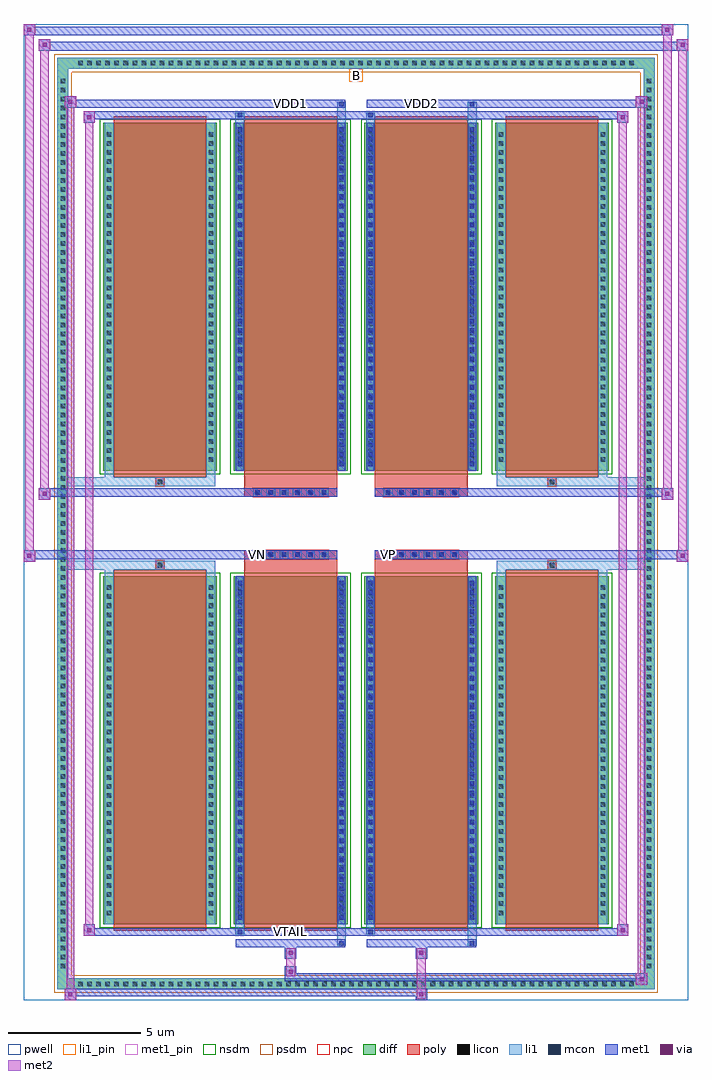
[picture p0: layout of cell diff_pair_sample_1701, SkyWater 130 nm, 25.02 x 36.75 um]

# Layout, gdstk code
import gdstk
lib = gdstk.Library(unit=1e-6, precision=5e-09)
def R(c, l, rs):  # rectangles x0, y0, x1, y1
    for r in rs: c.add(gdstk.rectangle(r[:2], r[2:], *l))
def A(c, l, x, y, w, h, nx, ny, dx, dy):  # array of equal rectangles
    R(c, l, [(x+i*dx, y+j*dy, x+i*dx+w, y+j*dy+h) for i in range(nx) for j in range(ny)])
def P(c, l, *ps):  # polygons
    for p in ps: c.add(gdstk.Polygon(p, *l))
pwell = (64, 44)
diff = (65, 20)
poly = (66, 20)
licon = (66, 44)
li1_pin = (67, 16)
li1 = (67, 20)
mcon = (67, 44)
met1_pin = (68, 16)
met1 = (68, 20)
via = (68, 44)
met2 = (69, 20)
nsdm = (93, 44)
psdm = (94, 20)
npc = (95, 20)

diff_pair_sample_1701 = lib.new_cell('diff_pair_sample_1701')
R(diff_pair_sample_1701, pwell, [(-12.51,-17.94,12.51,18.81), (-9.83,-16.13,-0.01,-0.805), (0.01,-16.13,9.83,-0.805), (-9.83,0.805,-0.01,16.13), (0.01,0.805,9.83,16.13)])
A(diff_pair_sample_1701, diff, -10.575, -17.54, 0.41, 0.41, 62, 2, 0.34, 34.67)
A(diff_pair_sample_1701, diff, -11.24, -16.865, 0.41, 0.41, 1, 99, 0, 0.34)
A(diff_pair_sample_1701, diff, 10.83, -16.865, 0.41, 0.41, 1, 99, 0, 0.34)
A(diff_pair_sample_1701, diff, -9.52, -15.085, 4.28, 13.1, 4, 2, 4.92, 17.07)
R(diff_pair_sample_1701, diff, [(-10.575,-17.54,10.575,-17.13), (-11.24,-16.865,-10.83,16.865), (10.83,-16.865,11.24,16.865), (-10.575,17.13,10.575,17.54)])
P(diff_pair_sample_1701, diff, [(11.24,17.54),(-11.24,17.54),(-11.24,-17.13),(-10.83,-17.13),(-10.83,17.13),(10.83,17.13),(10.83,-17.13),(-10.83,-17.13),(-11.24,-17.13),(-11.24,-17.54),(11.24,-17.54)])
A(diff_pair_sample_1701, poly, -9.13, -15.335, 3.5, 13.6, 4, 2, 4.92, 17.07)
A(diff_pair_sample_1701, poly, -3.875, -1.335, 0.33, 0.33, 6, 2, 0.5, 2.34)
A(diff_pair_sample_1701, poly, 1.045, -1.335, 0.33, 0.33, 6, 2, 0.5, 2.34)
R(diff_pair_sample_1701, poly, [(-7.545,-1.735,-7.215,-1.405), (-7.545,-1.735,-7.215,-1.405), (-4.21,-1.735,-0.71,-1.335), (0.71,-1.735,4.21,-1.335), (7.215,-1.735,7.545,-1.405), (7.215,-1.735,7.545,-1.405), (-4.21,-1.335,-0.71,-1.005), (0.71,-1.335,4.21,-1.005), (-4.21,1.005,-0.71,1.335), (0.71,1.005,4.21,1.335), (-4.21,1.335,-0.71,1.735), (0.71,1.335,4.21,1.735), (-7.545,1.405,-7.215,1.735), (-7.545,1.405,-7.215,1.735), (7.215,1.405,7.545,1.735), (7.215,1.405,7.545,1.735)])
A(diff_pair_sample_1701, licon, -10.455, -17.42, 0.17, 0.17, 62, 2, 0.34, 34.67)
A(diff_pair_sample_1701, licon, -11.12, -16.745, 0.17, 0.17, 1, 99, 0, 0.34)
A(diff_pair_sample_1701, licon, 10.95, -16.745, 0.17, 0.17, 1, 99, 0, 0.34)
A(diff_pair_sample_1701, licon, -9.38, -14.74, 0.17, 0.17, 1, 37, 0, 0.34)
A(diff_pair_sample_1701, licon, -5.55, -14.74, 0.17, 0.17, 1, 37, 0, 0.34)
A(diff_pair_sample_1701, licon, -4.46, -14.74, 0.17, 0.17, 1, 37, 0, 0.34)
A(diff_pair_sample_1701, licon, -0.63, -14.74, 0.17, 0.17, 1, 37, 0, 0.34)
A(diff_pair_sample_1701, licon, 0.46, -14.74, 0.17, 0.17, 1, 37, 0, 0.34)
A(diff_pair_sample_1701, licon, 4.29, -14.74, 0.17, 0.17, 1, 37, 0, 0.34)
A(diff_pair_sample_1701, licon, 5.38, -14.74, 0.17, 0.17, 1, 37, 0, 0.34)
A(diff_pair_sample_1701, licon, 9.21, -14.74, 0.17, 0.17, 1, 37, 0, 0.34)
A(diff_pair_sample_1701, licon, -3.795, -1.255, 0.17, 0.17, 6, 2, 0.5, 2.34)
A(diff_pair_sample_1701, licon, 1.125, -1.255, 0.17, 0.17, 6, 2, 0.5, 2.34)
A(diff_pair_sample_1701, licon, -9.38, 2.33, 0.17, 0.17, 1, 37, 0, 0.34)
A(diff_pair_sample_1701, licon, -5.55, 2.33, 0.17, 0.17, 1, 37, 0, 0.34)
A(diff_pair_sample_1701, licon, -4.46, 2.33, 0.17, 0.17, 1, 37, 0, 0.34)
A(diff_pair_sample_1701, licon, -0.63, 2.33, 0.17, 0.17, 1, 37, 0, 0.34)
A(diff_pair_sample_1701, licon, 0.46, 2.33, 0.17, 0.17, 1, 37, 0, 0.34)
A(diff_pair_sample_1701, licon, 4.29, 2.33, 0.17, 0.17, 1, 37, 0, 0.34)
A(diff_pair_sample_1701, licon, 5.38, 2.33, 0.17, 0.17, 1, 37, 0, 0.34)
A(diff_pair_sample_1701, licon, 9.21, 2.33, 0.17, 0.17, 1, 37, 0, 0.34)
R(diff_pair_sample_1701, licon, [(-7.465,-1.655,-7.295,-1.485), (7.295,-1.655,7.465,-1.485), (-7.465,1.485,-7.295,1.655), (7.295,1.485,7.465,1.655)])
R(diff_pair_sample_1701, li1_pin, [(-0.25,16.63,0.25,17.13)])
A(diff_pair_sample_1701, li1, -10.535, -17.5, 0.33, 0.33, 62, 2, 0.34, 34.67)
A(diff_pair_sample_1701, li1, -11.2, -16.825, 0.33, 0.33, 1, 99, 0, 0.34)
A(diff_pair_sample_1701, li1, 10.87, -16.825, 0.33, 0.33, 1, 99, 0, 0.34)
A(diff_pair_sample_1701, li1, -4.46, -14.92, 0.17, 0.17, 1, 36, 0, 0.36)
A(diff_pair_sample_1701, li1, -0.63, -14.92, 0.17, 0.17, 1, 36, 0, 0.36)
A(diff_pair_sample_1701, li1, 0.46, -14.92, 0.17, 0.17, 1, 36, 0, 0.36)
A(diff_pair_sample_1701, li1, 4.29, -14.92, 0.17, 0.17, 1, 36, 0, 0.36)
A(diff_pair_sample_1701, li1, -9.46, -14.82, 0.33, 0.33, 1, 37, 0, 0.34)
A(diff_pair_sample_1701, li1, -5.63, -14.82, 0.33, 0.33, 1, 37, 0, 0.34)
A(diff_pair_sample_1701, li1, -4.54, -14.82, 0.33, 0.33, 1, 37, 0, 0.34)
A(diff_pair_sample_1701, li1, -0.71, -14.82, 0.33, 0.33, 1, 37, 0, 0.34)
A(diff_pair_sample_1701, li1, 0.38, -14.82, 0.33, 0.33, 1, 37, 0, 0.34)
A(diff_pair_sample_1701, li1, 4.21, -14.82, 0.33, 0.33, 1, 37, 0, 0.34)
A(diff_pair_sample_1701, li1, 5.3, -14.82, 0.33, 0.33, 1, 37, 0, 0.34)
A(diff_pair_sample_1701, li1, 9.13, -14.82, 0.33, 0.33, 1, 37, 0, 0.34)
A(diff_pair_sample_1701, li1, -3.875, -1.335, 0.33, 0.33, 6, 2, 0.5, 2.34)
A(diff_pair_sample_1701, li1, 1.045, -1.335, 0.33, 0.33, 6, 2, 0.5, 2.34)
A(diff_pair_sample_1701, li1, -4.46, 2.15, 0.17, 0.17, 1, 36, 0, 0.36)
A(diff_pair_sample_1701, li1, -0.63, 2.15, 0.17, 0.17, 1, 36, 0, 0.36)
A(diff_pair_sample_1701, li1, 0.46, 2.15, 0.17, 0.17, 1, 36, 0, 0.36)
A(diff_pair_sample_1701, li1, 4.29, 2.15, 0.17, 0.17, 1, 36, 0, 0.36)
A(diff_pair_sample_1701, li1, -9.46, 2.25, 0.33, 0.33, 1, 37, 0, 0.34)
A(diff_pair_sample_1701, li1, -5.63, 2.25, 0.33, 0.33, 1, 37, 0, 0.34)
A(diff_pair_sample_1701, li1, -4.54, 2.25, 0.33, 0.33, 1, 37, 0, 0.34)
A(diff_pair_sample_1701, li1, -0.71, 2.25, 0.33, 0.33, 1, 37, 0, 0.34)
A(diff_pair_sample_1701, li1, 0.38, 2.25, 0.33, 0.33, 1, 37, 0, 0.34)
A(diff_pair_sample_1701, li1, 4.21, 2.25, 0.33, 0.33, 1, 37, 0, 0.34)
A(diff_pair_sample_1701, li1, 5.3, 2.25, 0.33, 0.33, 1, 37, 0, 0.34)
A(diff_pair_sample_1701, li1, 9.13, 2.25, 0.33, 0.33, 1, 37, 0, 0.34)
R(diff_pair_sample_1701, li1, [(-11.24,-17.54,-10.83,-17.13), (-11.24,-17.54,-10.83,-17.13), (-10.83,-17.54,10.83,-17.13), (10.83,-17.54,11.24,-17.13), (10.83,-17.54,11.24,-17.13), (-11.24,-17.13,-10.83,17.13), (10.83,-17.13,11.24,17.13), (-0.71,-15.89,-0.38,-15.085), (-0.63,-15.89,-0.46,-15.72), (4.21,-15.89,4.54,-15.085), (4.29,-15.89,4.46,-15.72), (-4.54,-15.46,-4.21,-15.085), (-4.46,-15.46,-4.29,-15.29), (0.38,-15.46,0.71,-15.085), (0.46,-15.46,0.63,-15.29), (-9.46,-15.085,-9.13,-1.985), (-5.63,-15.085,-5.3,-1.985), (-4.54,-15.085,-4.21,-1.985), (-0.71,-15.085,-0.38,-1.985), (0.38,-15.085,0.71,-1.985), (4.21,-15.085,4.54,-1.985), (5.3,-15.085,5.63,-1.985), (9.13,-15.085,9.46,-1.985), (-4.46,-14.92,-4.29,-2.15), (-0.63,-14.92,-0.46,-2.15), (0.46,-14.92,0.63,-2.15), (4.29,-14.92,4.46,-2.15), (-9.46,-1.985,-9.13,-1.405), (-5.63,-1.985,-5.3,-1.405), (5.3,-1.985,5.63,-1.405), (9.13,-1.985,9.46,-1.405), (-11.24,-1.735,-7.545,-1.405), (-9.46,-1.735,-7.545,-1.405), (-7.545,-1.735,-7.215,-1.405), (-7.215,-1.735,-5.3,-1.405), (5.3,-1.735,7.215,-1.405), (7.215,-1.735,7.545,-1.405), (7.215,-1.735,11.24,-1.405), (7.545,-1.735,9.46,-1.405), (-11.24,1.405,-7.545,1.735), (-9.46,1.405,-7.545,1.735), (-9.46,1.405,-9.13,1.985), (-7.545,1.405,-7.215,1.735), (-7.215,1.405,-5.3,1.735), (-5.63,1.405,-5.3,1.985), (5.3,1.405,7.215,1.735), (5.3,1.405,5.63,1.985), (7.215,1.405,7.545,1.735), (7.215,1.405,11.24,1.735), (7.545,1.405,9.46,1.735), (9.13,1.405,9.46,1.985), (-9.46,1.985,-9.13,15.085), (-5.63,1.985,-5.3,15.085), (-4.54,1.985,-4.21,15.085), (-0.71,1.985,-0.38,15.085), (0.38,1.985,0.71,15.085), (4.21,1.985,4.54,15.085), (5.3,1.985,5.63,15.085), (9.13,1.985,9.46,15.085), (-4.46,2.15,-4.29,14.92), (-0.63,2.15,-0.46,14.92), (0.46,2.15,0.63,14.92), (4.29,2.15,4.46,14.92), (-4.54,15.085,-4.21,15.46), (-0.71,15.085,-0.38,15.89), (0.38,15.085,0.71,15.46), (4.21,15.085,4.54,15.89), (-4.46,15.29,-4.29,15.46), (0.46,15.29,0.63,15.46), (-0.63,15.72,-0.46,15.89), (4.29,15.72,4.46,15.89), (-11.24,17.13,-10.83,17.54), (-11.24,17.13,-10.83,17.54), (-10.83,17.13,10.83,17.54), (10.83,17.13,11.24,17.54), (10.83,17.13,11.24,17.54)])
A(diff_pair_sample_1701, mcon, -4.46, -14.92, 0.17, 0.17, 1, 36, 0, 0.36)
A(diff_pair_sample_1701, mcon, -0.63, -14.92, 0.17, 0.17, 1, 36, 0, 0.36)
A(diff_pair_sample_1701, mcon, 0.46, -14.92, 0.17, 0.17, 1, 36, 0, 0.36)
A(diff_pair_sample_1701, mcon, 4.29, -14.92, 0.17, 0.17, 1, 36, 0, 0.36)
A(diff_pair_sample_1701, mcon, -3.795, -1.255, 0.17, 0.17, 6, 2, 0.5, 2.34)
A(diff_pair_sample_1701, mcon, 1.125, -1.255, 0.17, 0.17, 6, 2, 0.5, 2.34)
A(diff_pair_sample_1701, mcon, -4.46, 2.15, 0.17, 0.17, 1, 36, 0, 0.36)
A(diff_pair_sample_1701, mcon, -0.63, 2.15, 0.17, 0.17, 1, 36, 0, 0.36)
A(diff_pair_sample_1701, mcon, 0.46, 2.15, 0.17, 0.17, 1, 36, 0, 0.36)
A(diff_pair_sample_1701, mcon, 4.29, 2.15, 0.17, 0.17, 1, 36, 0, 0.36)
R(diff_pair_sample_1701, mcon, [(-0.63,-15.89,-0.46,-15.72), (4.29,-15.89,4.46,-15.72), (-4.46,-15.46,-4.29,-15.29), (0.46,-15.46,0.63,-15.29), (-4.46,15.29,-4.29,15.46), (0.46,15.29,0.63,15.46), (-0.63,15.72,-0.46,15.89), (4.29,15.72,4.46,15.89)])
R(diff_pair_sample_1701, met1_pin, [(-2.595,-15.5,-2.325,-15.23), (-3.845,-1.295,-3.575,-1.025), (1.075,-1.295,1.345,-1.025), (-2.595,15.68,-2.325,15.95), (2.325,15.68,2.595,15.95)])
A(diff_pair_sample_1701, met1, -4.52, -14.98, 0.29, 0.29, 1, 36, 0, 0.36)
A(diff_pair_sample_1701, met1, -0.69, -14.98, 0.29, 0.29, 1, 36, 0, 0.36)
A(diff_pair_sample_1701, met1, 0.4, -14.98, 0.29, 0.29, 1, 36, 0, 0.36)
A(diff_pair_sample_1701, met1, 4.23, -14.98, 0.29, 0.29, 1, 36, 0, 0.36)
A(diff_pair_sample_1701, met1, -3.855, -1.315, 0.29, 0.29, 6, 2, 0.5, 2.34)
A(diff_pair_sample_1701, met1, 1.065, -1.315, 0.29, 0.29, 6, 2, 0.5, 2.34)
A(diff_pair_sample_1701, met1, -4.52, 2.09, 0.29, 0.29, 1, 36, 0, 0.36)
A(diff_pair_sample_1701, met1, -0.69, 2.09, 0.29, 0.29, 1, 36, 0, 0.36)
A(diff_pair_sample_1701, met1, 0.4, 2.09, 0.29, 0.29, 1, 36, 0, 0.36)
A(diff_pair_sample_1701, met1, 4.23, 2.09, 0.29, 0.29, 1, 36, 0, 0.36)
R(diff_pair_sample_1701, met1, [(-10.97,-17.94,-10.54,-17.51), (2.245,-17.94,2.675,-17.51), (-10.97,-17.8,2.675,-17.51), (10.54,-17.37,10.97,-16.94), (-2.675,-17.23,10.97,-16.94), (-2.675,-17.09,-2.245,-16.66), (-2.675,-16.38,-2.245,-15.95), (2.245,-16.38,2.675,-15.95), (-4.52,-15.95,-0.4,-15.66), (-0.69,-15.95,-0.4,-15.66), (0.4,-15.95,4.52,-15.66), (4.23,-15.95,4.52,-15.66), (-10.26,-15.52,-9.83,-15.09), (-10.26,-15.52,-4.52,-15.23), (-4.52,-15.52,-4.23,-15.23), (-4.52,-15.52,-0.4,-15.23), (-0.4,-15.52,0.4,-15.23), (0.4,-15.52,0.69,-15.23), (0.4,-15.52,4.52,-15.23), (4.52,-15.52,10.26,-15.23), (9.83,-15.52,10.26,-15.09), (-4.52,-15.085,-4.23,-1.985), (-0.69,-15.085,-0.4,-1.985), (0.4,-15.085,0.69,-1.985), (4.23,-15.085,4.52,-1.985), (-12.51,-1.435,-12.08,-1.005), (12.08,-1.435,12.51,-1.005), (-12.51,-1.335,-0.71,-1.005), (-4.21,-1.335,-0.71,-1.005), (0.71,-1.335,4.21,-1.005), (0.71,-1.335,12.51,-1.005), (-11.94,0.905,-11.51,1.335), (11.51,0.905,11.94,1.335), (-11.94,1.005,-4.21,1.335), (-4.21,1.005,-0.71,1.335), (0.71,1.005,4.21,1.335), (4.21,1.005,11.94,1.335), (-4.52,1.985,-4.23,15.085), (-0.69,1.985,-0.4,15.085), (0.4,1.985,0.69,15.085), (4.23,1.985,4.52,15.085), (-10.26,15.09,-9.83,15.52), (9.83,15.09,10.26,15.52), (-10.26,15.23,-4.52,15.52), (-4.52,15.23,-4.23,15.52), (-4.52,15.23,-0.4,15.52), (-0.4,15.23,0.4,15.52), (0.4,15.23,0.69,15.52), (0.4,15.23,4.52,15.52), (4.52,15.23,10.26,15.52), (-10.97,15.66,-10.54,16.09), (-10.97,15.66,-4.52,15.95), (-4.52,15.66,-0.4,15.95), (-0.69,15.66,-0.4,15.95), (0.4,15.66,4.52,15.95), (4.23,15.66,4.52,15.95), (4.52,15.66,10.97,15.95), (10.54,15.66,10.97,16.09), (-11.94,17.81,-11.51,18.24), (-11.94,17.81,-9.83,18.14), (-9.83,17.81,9.83,18.14), (9.83,17.81,12.51,18.14), (12.08,17.81,12.51,18.24), (-12.51,18.38,-12.08,18.81), (-12.51,18.38,-9.83,18.71), (-9.83,18.38,9.83,18.71), (9.83,18.38,11.94,18.71), (11.51,18.38,11.94,18.81)])
R(diff_pair_sample_1701, via, [(-10.83,-17.8,-10.68,-17.65), (2.385,-17.8,2.535,-17.65), (10.68,-17.23,10.83,-17.08), (-2.535,-16.95,-2.385,-16.8), (-2.535,-16.24,-2.385,-16.09), (2.385,-16.24,2.535,-16.09), (-10.12,-15.38,-9.97,-15.23), (9.97,-15.38,10.12,-15.23), (-12.37,-1.295,-12.22,-1.145), (12.22,-1.295,12.37,-1.145), (-11.8,1.045,-11.65,1.195), (11.65,1.045,11.8,1.195), (-10.12,15.23,-9.97,15.38), (9.97,15.23,10.12,15.38), (-10.83,15.8,-10.68,15.95), (10.68,15.8,10.83,15.95), (-11.8,17.95,-11.65,18.1), (12.22,17.95,12.37,18.1), (-12.37,18.52,-12.22,18.67), (11.65,18.52,11.8,18.67)])
R(diff_pair_sample_1701, met2, [(-10.97,-17.94,-10.54,-17.51), (-10.9,-17.94,-10.61,16.09), (-10.61,-17.94,-10.54,-17.51), (-10.92,-17.89,-10.59,-17.56), (2.295,-17.89,2.625,-17.56), (2.295,-17.56,2.625,-16.33), (10.54,-17.37,10.97,-16.94), (10.61,-17.37,10.9,16.09), (10.9,-17.37,10.97,-16.94), (10.59,-17.32,10.92,-16.99), (-2.625,-17.04,-2.295,-16.71), (-2.625,-16.71,-2.295,-16.33), (-2.625,-16.33,-2.295,-16), (2.295,-16.33,2.625,-16), (-10.26,-15.52,-9.83,-15.09), (-10.19,-15.52,-9.9,15.52), (-9.9,-15.52,-9.83,-15.09), (9.83,-15.52,10.26,-15.09), (9.9,-15.52,10.19,15.52), (10.19,-15.52,10.26,-15.09), (-10.21,-15.47,-9.88,-15.14), (9.88,-15.47,10.21,-15.14), (-12.51,-1.435,-12.08,-1.005), (-12.46,-1.435,-12.13,18.81), (-12.13,-1.435,-12.08,-1.005), (12.08,-1.435,12.51,-1.005), (12.13,-1.435,12.46,18.24), (12.46,-1.435,12.51,-1.005), (-12.46,-1.385,-12.13,-1.055), (12.13,-1.385,12.46,-1.055), (-11.94,0.905,-11.51,1.335), (-11.89,0.905,-11.56,18.24), (-11.56,0.905,-11.51,1.335), (11.51,0.905,11.94,1.335), (11.56,0.905,11.89,18.81), (11.89,0.905,11.94,1.335), (-11.89,0.955,-11.56,1.285), (11.56,0.955,11.89,1.285), (-10.26,15.09,-9.83,15.52), (-9.9,15.09,-9.83,15.52), (9.83,15.09,10.26,15.52), (10.19,15.09,10.26,15.52), (-10.21,15.14,-9.88,15.47), (9.88,15.14,10.21,15.47), (-10.97,15.66,-10.54,16.09), (-10.61,15.66,-10.54,16.09), (10.54,15.66,10.97,16.09), (10.9,15.66,10.97,16.09), (-10.92,15.71,-10.59,16.04), (10.59,15.71,10.92,16.04), (-11.94,17.81,-11.51,18.24), (-11.56,17.81,-11.51,18.24), (12.08,17.81,12.51,18.24), (12.46,17.81,12.51,18.24), (-11.89,17.86,-11.56,18.19), (12.13,17.86,12.46,18.19), (-12.51,18.38,-12.08,18.81), (-12.13,18.38,-12.08,18.81), (11.51,18.38,11.94,18.81), (11.89,18.38,11.94,18.81), (-12.46,18.43,-12.13,18.76), (11.56,18.43,11.89,18.76)])
A(diff_pair_sample_1701, nsdm, -9.65, -15.215, 4.54, 13.36, 4, 2, 4.92, 17.07)
P(diff_pair_sample_1701, psdm, [(11.37,17.67),(-11.37,17.67),(-11.37,-17),(-10.7,-17),(-10.7,17),(10.7,17),(10.7,-17),(-10.7,-17),(-11.37,-17),(-11.37,-17.67),(11.37,-17.67)])
A(diff_pair_sample_1701, npc, -3.895, -1.355, 0.37, 0.37, 6, 2, 0.5, 2.34)
A(diff_pair_sample_1701, npc, 1.025, -1.355, 0.37, 0.37, 6, 2, 0.5, 2.34)
R(diff_pair_sample_1701, npc, [(-7.565,-1.755,-7.195,-1.385), (7.195,-1.755,7.565,-1.385), (-3.895,-1.355,-3.025,-0.985), (-3.895,-1.355,-3.025,-0.985), (-3.395,-1.355,-2.525,-0.985), (-3.395,-1.355,-2.525,-0.985), (-2.895,-1.355,-2.025,-0.985), (-2.895,-1.355,-2.025,-0.985), (-2.395,-1.355,-1.525,-0.985), (-2.395,-1.355,-1.525,-0.985), (-1.895,-1.355,-1.025,-0.985), (-1.895,-1.355,-1.025,-0.985), (1.025,-1.355,1.895,-0.985), (1.025,-1.355,1.895,-0.985), (1.525,-1.355,2.395,-0.985), (1.525,-1.355,2.395,-0.985), (2.025,-1.355,2.895,-0.985), (2.025,-1.355,2.895,-0.985), (2.525,-1.355,3.395,-0.985), (2.525,-1.355,3.395,-0.985), (3.025,-1.355,3.895,-0.985), (3.025,-1.355,3.895,-0.985), (-3.895,0.985,-3.025,1.355), (-3.895,0.985,-3.025,1.355), (-3.395,0.985,-2.525,1.355), (-3.395,0.985,-2.525,1.355), (-2.895,0.985,-2.025,1.355), (-2.895,0.985,-2.025,1.355), (-2.395,0.985,-1.525,1.355), (-2.395,0.985,-1.525,1.355), (-1.895,0.985,-1.025,1.355), (-1.895,0.985,-1.025,1.355), (1.025,0.985,1.895,1.355), (1.025,0.985,1.895,1.355), (1.525,0.985,2.395,1.355), (1.525,0.985,2.395,1.355), (2.025,0.985,2.895,1.355), (2.025,0.985,2.895,1.355), (2.525,0.985,3.395,1.355), (2.525,0.985,3.395,1.355), (3.025,0.985,3.895,1.355), (3.025,0.985,3.895,1.355), (-7.565,1.385,-7.195,1.755), (7.195,1.385,7.565,1.755)])
diff_pair_sample_1701.add(gdstk.Label('VTAIL', (-2.46,-15.365), layer=68, texttype=5))
diff_pair_sample_1701.add(gdstk.Label('VN', (-3.71,-1.16), layer=68, texttype=5))
diff_pair_sample_1701.add(gdstk.Label('VP', (1.21,-1.16), layer=68, texttype=5))
diff_pair_sample_1701.add(gdstk.Label('B', (0,16.88), layer=67, texttype=5))
diff_pair_sample_1701.add(gdstk.Label('VDD2', (2.46,15.815), layer=68, texttype=5))
diff_pair_sample_1701.add(gdstk.Label('VDD1', (-2.46,15.815), layer=68, texttype=5))

lib.write_gds('diff_pair_sample_1701.gds')
